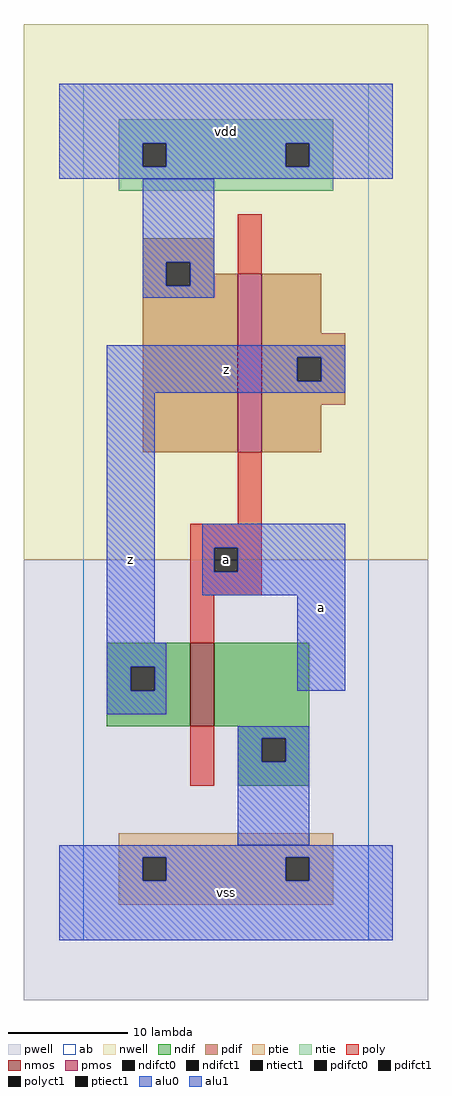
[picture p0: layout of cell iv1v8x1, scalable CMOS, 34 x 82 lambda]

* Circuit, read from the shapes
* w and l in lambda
.subckt iv1v8x1 a vdd vss z
M1 vss a z vss nfet w=7 l=2
M2 z a vdd vdd pfet w=15 l=2
.ends

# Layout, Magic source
magic
tech scmos
<< ab >>
rect 0 0 24 72
<< nwell >>
rect -5 32 29 77
<< pwell >>
rect -5 -5 29 32
<< poly >>
rect 13 56 15 61
rect 13 35 15 41
rect 9 33 15 35
rect 9 31 11 33
rect 13 31 15 33
rect 9 29 15 31
rect 9 25 11 29
rect 9 13 11 18
<< ndif >>
rect 2 23 9 25
rect 2 21 4 23
rect 6 21 9 23
rect 2 18 9 21
rect 11 18 19 25
rect 13 17 19 18
rect 13 15 15 17
rect 17 15 19 17
rect 13 13 19 15
<< pdif >>
rect 5 57 11 59
rect 5 55 7 57
rect 9 56 11 57
rect 9 55 13 56
rect 5 41 13 55
rect 15 51 20 56
rect 15 49 22 51
rect 15 47 18 49
rect 20 47 22 49
rect 15 45 22 47
rect 15 41 20 45
<< alu1 >>
rect -2 67 26 72
rect -2 65 5 67
rect 7 65 17 67
rect 19 65 26 67
rect -2 64 26 65
rect 2 49 22 50
rect 2 47 18 49
rect 20 47 22 49
rect 2 46 22 47
rect 2 25 6 46
rect 10 33 22 35
rect 10 31 11 33
rect 13 31 22 33
rect 10 29 22 31
rect 2 23 7 25
rect 2 21 4 23
rect 6 21 7 23
rect 18 21 22 29
rect 2 19 7 21
rect -2 7 26 8
rect -2 5 5 7
rect 7 5 17 7
rect 19 5 26 7
rect -2 0 26 5
<< ptie >>
rect 3 7 21 9
rect 3 5 5 7
rect 7 5 17 7
rect 19 5 21 7
rect 3 3 21 5
<< ntie >>
rect 3 67 21 69
rect 3 65 5 67
rect 7 65 17 67
rect 19 65 21 67
rect 3 63 21 65
<< nmos >>
rect 9 18 11 25
<< pmos >>
rect 13 41 15 56
<< polyct1 >>
rect 11 31 13 33
<< ndifct0 >>
rect 15 15 17 17
<< ndifct1 >>
rect 4 21 6 23
<< ntiect1 >>
rect 5 65 7 67
rect 17 65 19 67
<< ptiect1 >>
rect 5 5 7 7
rect 17 5 19 7
<< pdifct0 >>
rect 7 55 9 57
<< pdifct1 >>
rect 18 47 20 49
<< alu0 >>
rect 5 57 11 64
rect 5 55 7 57
rect 9 55 11 57
rect 5 54 11 55
rect 13 17 19 18
rect 13 15 15 17
rect 17 15 19 17
rect 13 8 19 15
<< labels >>
rlabel alu1 4 32 4 32 6 z
rlabel alu1 12 4 12 4 6 vss
rlabel polyct1 12 32 12 32 6 a
rlabel alu1 12 48 12 48 6 z
rlabel alu1 12 68 12 68 6 vdd
rlabel alu1 20 28 20 28 6 a
<< end >>
